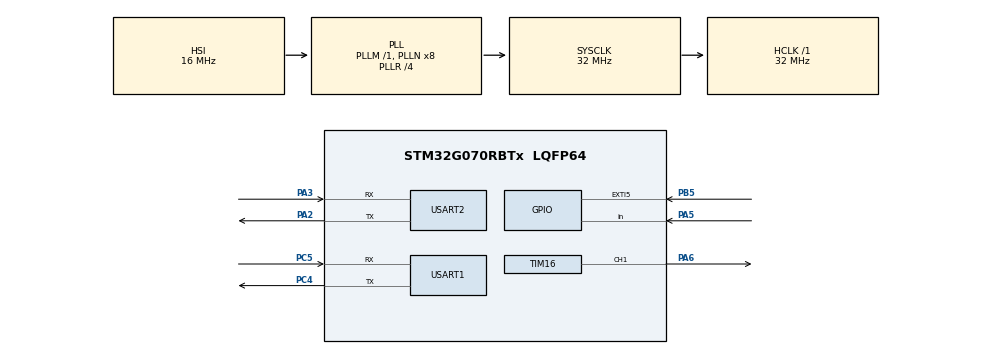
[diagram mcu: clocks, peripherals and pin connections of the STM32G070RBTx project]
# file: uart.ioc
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Dma.Request0=USART2_RX
Dma.Request1=USART2_TX
Dma.USART2_RX.0.Direction=DMA_PERIPH_TO_MEMORY
Dma.USART2_RX.0.EventEnable=DISABLE
Dma.USART2_RX.0.Instance=DMA1_Channel5
Dma.USART2_RX.0.MemDataAlignment=DMA_MDATAALIGN_BYTE
Dma.USART2_RX.0.MemInc=DMA_MINC_ENABLE
Dma.USART2_RX.0.Mode=DMA_NORMAL
Dma.USART2_RX.0.PeriphDataAlignment=DMA_PDATAALIGN_BYTE
Dma.USART2_RX.0.PeriphInc=DMA_PINC_DISABLE
Dma.USART2_RX.0.Polarity=HAL_DMAMUX_REQ_GEN_RISING
Dma.USART2_RX.0.Priority=DMA_PRIORITY_LOW
Dma.USART2_RX.0.RequestNumber=1
Dma.USART2_RX.0.SignalID=NONE
Dma.USART2_RX.0.SyncEnable=DISABLE
Dma.USART2_RX.0.SyncPolarity=HAL_DMAMUX_SYNC_NO_EVENT
Dma.USART2_RX.0.SyncRequestNumber=1
Dma.USART2_RX.0.SyncSignalID=NONE
Dma.USART2_TX.1.Direction=DMA_MEMORY_TO_PERIPH
Dma.USART2_TX.1.EventEnable=DISABLE
Dma.USART2_TX.1.Instance=DMA1_Channel4
Dma.USART2_TX.1.MemDataAlignment=DMA_MDATAALIGN_BYTE
Dma.USART2_TX.1.MemInc=DMA_MINC_ENABLE
Dma.USART2_TX.1.Mode=DMA_NORMAL
Dma.USART2_TX.1.PeriphDataAlignment=DMA_PDATAALIGN_BYTE
Dma.USART2_TX.1.PeriphInc=DMA_PINC_DISABLE
Dma.USART2_TX.1.Polarity=HAL_DMAMUX_REQ_GEN_RISING
Dma.USART2_TX.1.Priority=DMA_PRIORITY_LOW
Dma.USART2_TX.1.RequestNumber=1
Dma.USART2_TX.1.SignalID=NONE
Dma.USART2_TX.1.SyncEnable=DISABLE
Dma.USART2_TX.1.SyncPolarity=HAL_DMAMUX_SYNC_NO_EVENT
Dma.USART2_TX.1.SyncRequestNumber=1
Dma.USART2_TX.1.SyncSignalID=NONE
Mcu.Family=STM32G0
Mcu.Name=STM32G070RBTx
Mcu.Package=LQFP64
NVIC.DMA1_Ch4_7_DMAMUX1_OVR_IRQn=true\:0\:0\:false\:false\:true\:false\:true\:true
NVIC.EXTI4_15_IRQn=true\:0\:0\:false\:false\:true\:true\:true\:true
NVIC.TIM16_IRQn=true\:0\:0\:false\:false\:true\:true\:true\:true
NVIC.USART1_IRQn=true\:0\:0\:false\:false\:true\:true\:true\:true
NVIC.USART2_IRQn=true\:0\:0\:false\:false\:true\:true\:true\:true
PA13.GPIO_Label=TMS
PA13.Mode=Serial_Wire
PA13.Signal=SYS_SWDIO
PA14-BOOT0.GPIO_Label=TCK
PA14-BOOT0.Mode=Serial_Wire
PA14-BOOT0.Signal=SYS_SWCLK
PA2.Mode=Asynchronous
PA2.Signal=USART2_TX
PA3.Mode=Asynchronous
PA3.Signal=USART2_RX
PA5.Signal=GPIO_Input
PA6.Signal=S_TIM16_CH1
PB5.GPIO_PuPd=GPIO_PULLDOWN
PB5.Signal=GPXTI5
PC13.Mode=SYS_WakeUp1
PC13.Signal=SYS_WKUP2
PC14-OSC32_IN\ (PC14).Mode=LSE-External-Oscillator
PC14-OSC32_IN\ (PC14).Signal=RCC_OSC32_IN
PC15-OSC32_OUT\ (PC15).Mode=LSE-External-Oscillator
PC15-OSC32_OUT\ (PC15).Signal=RCC_OSC32_OUT
PC4.Mode=Asynchronous
PC4.Signal=USART1_TX
PC5.Mode=Asynchronous
PC5.Signal=USART1_RX
PF0-OSC_IN\ (PF0).GPIO_Label=MCO
PF0-OSC_IN\ (PF0).Mode=HSE-External-Clock-Source
PF0-OSC_IN\ (PF0).Signal=RCC_OSC_IN
ProjectManager.HeapSize=0x200
ProjectManager.StackSize=0x400
ProjectManager.TargetToolchain=STM32CubeIDE
RCC.ADCFreq_Value=32000000
RCC.AHBFreq_Value=32000000
RCC.CortexFreq_Value=32000000
RCC.EXTERNAL_CLOCK_VALUE=12288000
RCC.HCLKFreq_Value=32000000
RCC.HSE_VALUE=8000000
RCC.HSI_VALUE=16000000
RCC.PLLR=RCC_PLLR_DIV4
RCC.SYSCLKFreq_VALUE=32000000
RCC.SYSCLKSource=RCC_SYSCLKSOURCE_PLLCLK
RCC.VCOOutputFreq_Value=128000000
SH.S_TIM16_CH1.0=TIM16_CH1,PWM Generation1 CH1
TIM16.Channel=TIM_CHANNEL_1
TIM16.Period=699
TIM16.Prescaler=159
USART1.VirtualMode-Asynchronous=VM_ASYNC
USART2.VirtualMode-Asynchronous=VM_ASYNC
VP_TIM16_VS_ClockSourceINT.Mode=Enable_Timer
board=NUCLEO-G070RB

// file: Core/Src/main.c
/* USER CODE BEGIN Header */
/**
  ******************************************************************************
  * @file           : main.c
  * @brief          : Main program body
  ******************************************************************************
  * @attention
  *
  * Copyright (c) 2026 STMicroelectronics.
  * All rights reserved.
  *
  * This software is licensed under terms that can be found in the LICENSE file
  * in the root directory of this software component.
  * If no LICENSE file comes with this software, it is provided AS-IS.
  *
  ******************************************************************************
  */
/* USER CODE END Header */
#include "main.h"

/* USER CODE BEGIN Includes */
#include <string.h>
#include <stdlib.h>
#include <stdio.h>
/* USER CODE END Includes */

/* USER CODE BEGIN PD */
#define MOTOR_PIN GPIO_PIN_5
#define MOTOR_PORT GPIOB
/* USER CODE END PD */

TIM_HandleTypeDef htim16;

UART_HandleTypeDef huart1;
UART_HandleTypeDef huart2;
DMA_HandleTypeDef hdma_usart2_rx;
DMA_HandleTypeDef hdma_usart2_tx;

/* USER CODE BEGIN PV */
uint8_t rx_byte;
volatile uint8_t byte_ready = 0;
uint8_t rx_buffer[32] = {0};
uint8_t rx_index = 0;
uint8_t received_LF = 0;
uint8_t ready = 1;
volatile uint32_t motor_count;
uint16_t remember = 0;
uint8_t msg_length = 0;
uint16_t target_rpm = 0;
uint16_t Kp = 0;
uint16_t Ki = 0;
uint16_t Kd = 0;

/* USER CODE END PV */

/* Private function prototypes*/
void SystemClock_Config(void);
static void MX_GPIO_Init(void);
static void MX_DMA_Init(void);
static void MX_TIM16_Init(void);
static void MX_USART2_UART_Init(void);
static void MX_USART1_UART_Init(void);
/* USER CODE BEGIN PFP */
static void process_message(void);
uint8_t hex_pair_to_byte(uint8_t high, uint8_t low);
uint8_t hex_val_to_char(uint8_t c);
/* USER CODE END PFP */

int main(void)
{

  /* MCU Configuration--------------------------------------------------------*/

  /* Reset of all peripherals, Initializes the Flash interface and the Systick. */
  HAL_Init();

  /* Configure the system clock */
  SystemClock_Config();

  /* Initialize all configured peripherals */
  MX_GPIO_Init();
  MX_DMA_Init();
  MX_TIM16_Init();
  MX_USART2_UART_Init();
  MX_USART1_UART_Init();
  /* USER CODE BEGIN 2 */
  HAL_UART_Receive_IT(&huart2, &rx_byte, 1);
  /* USER CODE END 2 */

  /* Infinite loop */
  /* USER CODE BEGIN WHILE */
  while (1)
  {
	  if (ready)
	  {
		//calculate pwm speed
		ready = 0;

		process_message();

		uint8_t newline[] = "\r\n";
		HAL_UART_Transmit(&huart2, newline, 2, 1000);

		//find motor speed
		static uint32_t last_check = 0;
		uint32_t now = HAL_GetTick();
		uint32_t elapsed = now-last_check;

		if (elapsed > 0)
		{
			uint32_t count = motor_count;
			motor_count = 0;
			last_check = now;

			uint32_t rpm = ((count*60000)/elapsed) / 6;

			char msg[32];
			int len = snprintf(msg, sizeof(msg), "RPM: %lu \r\n",
								(unsigned long)rpm);

			//find proportion term
			uint32_t actual_rpm = rpm;
			static uint16_t duty = 0;
			int32_t error = (int32_t)target_rpm - (int32_t)actual_rpm;
			int32_t P_term = Kp*error;

			//find integral term
			static int32_t integral = 0;
			integral = integral + (error*(int32_t)elapsed);
			if (integral > 600) integral = 600;
			if (integral < -600) integral = -600;
			int32_t I_term = Ki*integral;

			//find derivative term
			static int32_t derivative = 0;
			static int32_t previous_error = 0;
			derivative = ((error-previous_error)/(int32_t)elapsed);
			int32_t D_term = Kd*derivative;

			previous_error = error;

	        //clamp input to 0-699
			int32_t new_duty = duty + P_term + I_term + D_term;
			if (new_duty > 699) new_duty = 699;
			if (new_duty < 0) new_duty = 0;
			duty = (uint16_t)new_duty;		//turn everything back to unsigned

		   static uint8_t pwm_started = 0;
		   if (!pwm_started) { HAL_TIM_PWM_Start(&htim16, TIM_CHANNEL_1); pwm_started = 1; }
		   __HAL_TIM_SET_COMPARE(&htim16, TIM_CHANNEL_1, duty);
			HAL_UART_Transmit(&huart1, (uint8_t*)msg, len, 1000);
		}
	  }

  }

    /* USER CODE END WHILE */

}

void SystemClock_Config(void)
{
  RCC_OscInitTypeDef RCC_OscInitStruct = {0};
  RCC_ClkInitTypeDef RCC_ClkInitStruct = {0};

  /** Configure the main internal regulator output voltage
  */
  HAL_PWREx_ControlVoltageScaling(PWR_REGULATOR_VOLTAGE_SCALE1);

  /** Initializes the RCC Oscillators according to the specified parameters
  * in the RCC_OscInitTypeDef structure.
  */
  RCC_OscInitStruct.OscillatorType = RCC_OSCILLATORTYPE_HSI;
  RCC_OscInitStruct.HSIState = RCC_HSI_ON;
  RCC_OscInitStruct.HSIDiv = RCC_HSI_DIV1;
  RCC_OscInitStruct.HSICalibrationValue = RCC_HSICALIBRATION_DEFAULT;
  RCC_OscInitStruct.PLL.PLLState = RCC_PLL_ON;
  RCC_OscInitStruct.PLL.PLLSource = RCC_PLLSOURCE_HSI;
  RCC_OscInitStruct.PLL.PLLM = RCC_PLLM_DIV1;
  RCC_OscInitStruct.PLL.PLLN = 8;
  RCC_OscInitStruct.PLL.PLLP = RCC_PLLP_DIV2;
  RCC_OscInitStruct.PLL.PLLR = RCC_PLLR_DIV4;
  if (HAL_RCC_OscConfig(&RCC_OscInitStruct) != HAL_OK)
  {
    Error_Handler();
  }

  /** Initializes the CPU, AHB and APB buses clocks
  */
  RCC_ClkInitStruct.ClockType = RCC_CLOCKTYPE_HCLK|RCC_CLOCKTYPE_SYSCLK
                              |RCC_CLOCKTYPE_PCLK1;
  RCC_ClkInitStruct.SYSCLKSource = RCC_SYSCLKSOURCE_PLLCLK;
  RCC_ClkInitStruct.AHBCLKDivider = RCC_SYSCLK_DIV1;
  RCC_ClkInitStruct.APB1CLKDivider = RCC_HCLK_DIV1;

  if (HAL_RCC_ClockConfig(&RCC_ClkInitStruct, FLASH_LATENCY_1) != HAL_OK)
  {
    Error_Handler();
  }
}

static void MX_TIM16_Init(void)
{

  TIM_OC_InitTypeDef sConfigOC = {0};
  TIM_BreakDeadTimeConfigTypeDef sBreakDeadTimeConfig = {0};

  htim16.Instance = TIM16;
  htim16.Init.Prescaler = 159;
  htim16.Init.CounterMode = TIM_COUNTERMODE_UP;
  htim16.Init.Period = 699;
  htim16.Init.ClockDivision = TIM_CLOCKDIVISION_DIV1;
  htim16.Init.RepetitionCounter = 0;
  htim16.Init.AutoReloadPreload = TIM_AUTORELOAD_PRELOAD_DISABLE;
  if (HAL_TIM_Base_Init(&htim16) != HAL_OK)
  {
    Error_Handler();
  }
  if (HAL_TIM_PWM_Init(&htim16) != HAL_OK)
  {
    Error_Handler();
  }
  sConfigOC.OCMode = TIM_OCMODE_PWM1;
  sConfigOC.Pulse = 0;
  sConfigOC.OCPolarity = TIM_OCPOLARITY_HIGH;
  sConfigOC.OCNPolarity = TIM_OCNPOLARITY_HIGH;
  sConfigOC.OCFastMode = TIM_OCFAST_DISABLE;
  sConfigOC.OCIdleState = TIM_OCIDLESTATE_RESET;
  sConfigOC.OCNIdleState = TIM_OCNIDLESTATE_RESET;
  if (HAL_TIM_PWM_ConfigChannel(&htim16, &sConfigOC, TIM_CHANNEL_1) != HAL_OK)
  {
    Error_Handler();
  }
  sBreakDeadTimeConfig.OffStateRunMode = TIM_OSSR_DISABLE;
  sBreakDeadTimeConfig.OffStateIDLEMode = TIM_OSSI_DISABLE;
  sBreakDeadTimeConfig.LockLevel = TIM_LOCKLEVEL_OFF;
  sBreakDeadTimeConfig.DeadTime = 0;
  sBreakDeadTimeConfig.BreakState = TIM_BREAK_DISABLE;
  sBreakDeadTimeConfig.BreakPolarity = TIM_BREAKPOLARITY_HIGH;
  sBreakDeadTimeConfig.BreakFilter = 0;
  sBreakDeadTimeConfig.AutomaticOutput = TIM_AUTOMATICOUTPUT_DISABLE;
  if (HAL_TIMEx_ConfigBreakDeadTime(&htim16, &sBreakDeadTimeConfig) != HAL_OK)
  {
    Error_Handler();
  }
  HAL_TIM_MspPostInit(&htim16);

}

static void MX_USART1_UART_Init(void)
{

  huart1.Instance = USART1;
  huart1.Init.BaudRate = 115200;
  huart1.Init.WordLength = UART_WORDLENGTH_8B;
  huart1.Init.StopBits = UART_STOPBITS_1;
  huart1.Init.Parity = UART_PARITY_NONE;
  huart1.Init.Mode = UART_MODE_TX_RX;
  huart1.Init.HwFlowCtl = UART_HWCONTROL_NONE;
  huart1.Init.OverSampling = UART_OVERSAMPLING_16;
  huart1.Init.OneBitSampling = UART_ONE_BIT_SAMPLE_DISABLE;
  huart1.Init.ClockPrescaler = UART_PRESCALER_DIV1;
  huart1.AdvancedInit.AdvFeatureInit = UART_ADVFEATURE_NO_INIT;
  if (HAL_UART_Init(&huart1) != HAL_OK)
  {
    Error_Handler();
  }
  if (HAL_UARTEx_SetTxFifoThreshold(&huart1, UART_TXFIFO_THRESHOLD_1_8) != HAL_OK)
  {
    Error_Handler();
  }
  if (HAL_UARTEx_SetRxFifoThreshold(&huart1, UART_RXFIFO_THRESHOLD_1_8) != HAL_OK)
  {
    Error_Handler();
  }
  if (HAL_UARTEx_DisableFifoMode(&huart1) != HAL_OK)
  {
    Error_Handler();
  }

}

static void MX_USART2_UART_Init(void)
{

  huart2.Instance = USART2;
  huart2.Init.BaudRate = 115200;
  huart2.Init.WordLength = UART_WORDLENGTH_8B;
  huart2.Init.StopBits = UART_STOPBITS_1;
  huart2.Init.Parity = UART_PARITY_NONE;
  huart2.Init.Mode = UART_MODE_TX_RX;
  huart2.Init.HwFlowCtl = UART_HWCONTROL_NONE;
  huart2.Init.OverSampling = UART_OVERSAMPLING_16;
  huart2.Init.OneBitSampling = UART_ONE_BIT_SAMPLE_DISABLE;
  huart2.Init.ClockPrescaler = UART_PRESCALER_DIV1;
  huart2.AdvancedInit.AdvFeatureInit = UART_ADVFEATURE_NO_INIT;
  if (HAL_UART_Init(&huart2) != HAL_OK)
  {
    Error_Handler();
  }
  if (HAL_UARTEx_SetTxFifoThreshold(&huart2, UART_TXFIFO_THRESHOLD_1_8) != HAL_OK)
  {
    Error_Handler();
  }
  if (HAL_UARTEx_SetRxFifoThreshold(&huart2, UART_RXFIFO_THRESHOLD_1_8) != HAL_OK)
  {
    Error_Handler();
  }
  if (HAL_UARTEx_DisableFifoMode(&huart2) != HAL_OK)
  {
    Error_Handler();
  }

}

static void MX_DMA_Init(void)
{

  /* DMA controller clock enable */
  __HAL_RCC_DMA1_CLK_ENABLE();

  /* DMA interrupt init */
  /* DMA1_Ch4_7_DMAMUX1_OVR_IRQn interrupt configuration */
  HAL_NVIC_SetPriority(DMA1_Ch4_7_DMAMUX1_OVR_IRQn, 0, 0);
  HAL_NVIC_EnableIRQ(DMA1_Ch4_7_DMAMUX1_OVR_IRQn);

}

static void MX_GPIO_Init(void)
{
  GPIO_InitTypeDef GPIO_InitStruct = {0};

  /* GPIO Ports Clock Enable */
  __HAL_RCC_GPIOC_CLK_ENABLE();
  __HAL_RCC_GPIOF_CLK_ENABLE();
  __HAL_RCC_GPIOA_CLK_ENABLE();
  __HAL_RCC_GPIOB_CLK_ENABLE();

  /*Configure GPIO pin : PA5 */
  GPIO_InitStruct.Pin = GPIO_PIN_5;
  GPIO_InitStruct.Mode = GPIO_MODE_INPUT;
  GPIO_InitStruct.Pull = GPIO_NOPULL;
  HAL_GPIO_Init(GPIOA, &GPIO_InitStruct);

  /*Configure GPIO pin : PB5 */
  GPIO_InitStruct.Pin = GPIO_PIN_5;
  GPIO_InitStruct.Mode = GPIO_MODE_IT_RISING;
  GPIO_InitStruct.Pull = GPIO_PULLDOWN;
  HAL_GPIO_Init(GPIOB, &GPIO_InitStruct);

  /* EXTI interrupt init*/
  HAL_NVIC_SetPriority(EXTI4_15_IRQn, 0, 0);
  HAL_NVIC_EnableIRQ(EXTI4_15_IRQn);

}

/* USER CODE BEGIN 4 */
void HAL_UART_RxCpltCallback (UART_HandleTypeDef *huart){
	if (huart -> Instance == USART2)
	{
		uint8_t byte = rx_byte;		//copy the newly stored rx_byte into a local variable to store

		//HAL_UART_Transmit(&huart2, &rx_byte, 1, 1000);		//echo the transmit
		if (byte == ':')
		{
			rx_index = 0;
		    HAL_UART_Receive_IT(&huart2, &rx_byte, 1);
			return;
		}
		byte_ready = 1;			//sets if statement to true
		if (byte_ready)
		{
			if (received_LF)	//check if \n is received
			{
			  received_LF = 0;
			  if (byte == '\n')
				{
				  HAL_UART_Receive_IT(&huart2, &rx_byte, 1);		//swallowed the \n which means there's no more data to store
				  return;			//ignores the rest of the callback and go back to while loop
				}
			}
			if (byte == '\r')		//if \r is detected
			{
				rx_buffer[rx_index] = '\0';		//stores the null value to mark the end of the string
				msg_length = rx_index;
				rx_index = 0;					//reset the index
				received_LF = 1;				//Received one of the LF, so look out for more
				ready = 1;						//the ready state is set to true to run the while loop
			}
			else if (rx_index < sizeof(rx_buffer) - 1)	//keep storing the bytes
			{
				rx_buffer[rx_index++] = byte;   //accumulates what you're typing
			}
		}

	}
		HAL_UART_Receive_IT(&huart2, &rx_byte, 1);		//rearms UART for next byte
}

void HAL_GPIO_EXTI_Rising_Callback(uint16_t GPIO_Pin)
{
  if(GPIO_Pin == MOTOR_PIN)
  {
	  motor_count++;			//accumulates motor speed count based on rpm
  }

}

//definitions for hexadecimal
uint8_t hex_char_to_val(uint8_t c)
{
    if (c >= '0' && c <= '9') return c - '0';
    if (c >= 'A' && c <= 'F') return c - 'A' + 10;
    return 0;
}

uint8_t hex_pair_to_byte(uint8_t high, uint8_t low)
{
    return (hex_char_to_val(high) << 4) | hex_char_to_val(low);
}

uint8_t hex_val_to_char(uint8_t c)
{
	if (c >= 0 && c <= 9) return c + '0';
	if (c >= 10 && c <= 15) return c + 'A' - 10;
    return 0;
}

static void process_message(void)
{
    if (msg_length < 12) return;		//needs the register to be complete, or else the function won't run

    uint8_t address  = hex_pair_to_byte(rx_buffer[0], rx_buffer[1]);
    uint8_t function = hex_pair_to_byte(rx_buffer[2], rx_buffer[3]);

    uint8_t LRC = 0;

    if (address == 0x01 && function == 0x06)
    {
        uint16_t reg_address = (hex_pair_to_byte(rx_buffer[4], rx_buffer[5]) << 8)
                        |  hex_pair_to_byte(rx_buffer[6], rx_buffer[7]);

        uint16_t value = (hex_pair_to_byte(rx_buffer[8], rx_buffer[9]) << 8)
                                |  hex_pair_to_byte(rx_buffer[10], rx_buffer[11]);

        if (reg_address == 0x0000)
        {
        	target_rpm = value;
        }
        else if (reg_address == 0x0001)
        {
        	Kp = value;
        }
        else if (reg_address == 0x0002)
        {
        	Ki = value;
        }
        else if (reg_address == 0x0003)
        {
        	Kd = value;
        }

        //Buffer for outgoing reply
		uint8_t reply[32];
		//Position will be incrementally updated after each element is written into the buffer
		uint8_t pos = 0;

        reply[pos++] = ':';

		//Write position of address to master so master knows it's the right one that it queried
		uint8_t high_address = (address >> 4) & 0x0F;   // top 4 bits of address
		uint8_t low_address  = address & 0x0F;          // bottom 4 bits of address
		LRC = LRC + address;
		reply[pos++] = hex_val_to_char(high_address);
		reply[pos++] = hex_val_to_char(low_address);

		uint8_t high_function = (function >> 4) & 0x0F;
		uint8_t low_function = function & 0x0F;
		LRC = LRC + function;
		reply[pos++] = hex_val_to_char(high_function);
		reply[pos++] = hex_val_to_char(low_function);

		//Write position of register address (2 bytes, 16 bits)
		uint16_t high_reg = (reg_address >> 8) & 0x0FF;		//split data into 8 and 8
		uint16_t high_reg_hi = (high_reg >> 4) & 0x0F;	//split high bit in half again
		uint16_t high_reg_lo = high_reg & 0x0F;
		uint16_t low_reg = reg_address & 0x0FF;
		uint16_t low_reg_hi = (low_reg >> 4) & 0x0F;
		uint16_t low_reg_lo = low_reg & 0x0F;
		LRC = LRC + high_reg + low_reg;
		reply[pos++] = hex_val_to_char(high_reg_hi);
		reply[pos++] = hex_val_to_char(high_reg_lo);
		reply[pos++] = hex_val_to_char(low_reg_hi);
		reply[pos++] = hex_val_to_char(low_reg_lo);

		//Write position of value (2 bytes, 16 bits)
		uint16_t high_val = (value >> 8) & 0x0FF;		//split data into 8 and 8
		uint16_t high_val_hi = (high_val >> 4) & 0x0F;	//split high bit in half again
		uint16_t high_val_lo = high_val & 0x0F;
		uint16_t low_val = value & 0x0FF;
		uint16_t low_val_hi = (low_val >> 4) & 0x0F;
		uint16_t low_val_lo = low_val & 0x0F;
		LRC = LRC + high_val + low_val;
		reply[pos++] = hex_val_to_char(high_val_hi);
		reply[pos++] = hex_val_to_char(high_val_lo);
		reply[pos++] = hex_val_to_char(low_val_hi);
		reply[pos++] = hex_val_to_char(low_val_lo);

		//Handle LRC (2's complement)
		uint8_t lrc_comp = (~LRC) + 1;
		uint8_t high_lrc_comp = (lrc_comp >> 4) & 0x0F;
		uint8_t low_lrc_comp = lrc_comp & 0x0F;
		reply[pos++] = hex_val_to_char(high_lrc_comp);
		reply[pos++] = hex_val_to_char(low_lrc_comp);

		//Finish with \r\n
		reply[pos++] = '\r';
		reply[pos++] = '\n';

		//Transmit it back to console
		HAL_UART_Transmit(&huart2,reply, pos, 1000);

    }

    if (address == 0x01 && function == 0x03)
    {
        uint16_t reg_address = (hex_pair_to_byte(rx_buffer[4], rx_buffer[5]) << 8)
                        |  hex_pair_to_byte(rx_buffer[6], rx_buffer[7]);
        uint16_t data_to_send;

        if (reg_address == 0x0000) data_to_send = target_rpm;
        else if (reg_address == 0x0001) data_to_send = Kp;
        else if (reg_address == 0x0002) data_to_send = Ki;
        else if (reg_address == 0x0003) data_to_send = Kd;
        else data_to_send = 0;

        //Buffer for outgoing reply
        uint8_t reply[32];
        //Position will be incrementally updated after each element is written into the buffer
        uint8_t pos = 0;

        reply[pos++] = ':';

        //Write position of address to master so master knows it's the right one that it queried
        uint8_t high_address = (address >> 4) & 0x0F;   // top 4 bits of address
        uint8_t low_address  = address & 0x0F;          // bottom 4 bits of address
        LRC = LRC + address;
        reply[pos++] = hex_val_to_char(high_address);
        reply[pos++] = hex_val_to_char(low_address);

        uint8_t high_function = (function >> 4) & 0x0F;
        uint8_t low_function = function & 0x0F;
        LRC = LRC + function;
        reply[pos++] = hex_val_to_char(high_function);
        reply[pos++] = hex_val_to_char(low_function);

        //Tells master how many data bytes will follow so it knows when to stop reading for data
        uint8_t byte_count = 2;
        LRC = LRC + byte_count;
        uint8_t high_bc = (byte_count >> 4) & 0x0F;
        uint8_t low_bc  = byte_count & 0x0F;
        reply[pos++] = hex_val_to_char(high_bc);
        reply[pos++] = hex_val_to_char(low_bc);

        //Write position of data (2 bytes, 16 bits)
        uint16_t high_remember = (data_to_send >> 8) & 0x0FF;		//split data into 8 and 8
        uint16_t high_remember_hi = (high_remember >> 4) & 0x0F;	//split high bit in half again
        uint16_t high_remember_lo = high_remember & 0x0F;
        uint16_t low_remember = data_to_send & 0x0FF;
        uint16_t low_remember_hi = (low_remember >> 4) & 0x0F;
        uint16_t low_remember_lo = low_remember & 0x0F;
        LRC = LRC + high_remember + low_remember;
        reply[pos++] = hex_val_to_char(high_remember_hi);
        reply[pos++] = hex_val_to_char(high_remember_lo);
        reply[pos++] = hex_val_to_char(low_remember_hi);
        reply[pos++] = hex_val_to_char(low_remember_lo);

        uint8_t lrc_comp = (~LRC) + 1;
        uint8_t high_lrc_comp = (lrc_comp >> 4) & 0x0F;
        uint8_t low_lrc_comp = lrc_comp & 0x0F;
        reply[pos++] = hex_val_to_char(high_lrc_comp);
        reply[pos++] = hex_val_to_char(low_lrc_comp);

        //Finish with \r\n
        reply[pos++] = '\r';
        reply[pos++] = '\n';

        //Transmit it back to console
        HAL_UART_Transmit(&huart2,reply, pos, 1000);

    }
}

/* USER CODE END 4 */

void Error_Handler(void)
{
  __disable_irq();
  while (1)
  {
  }
}
